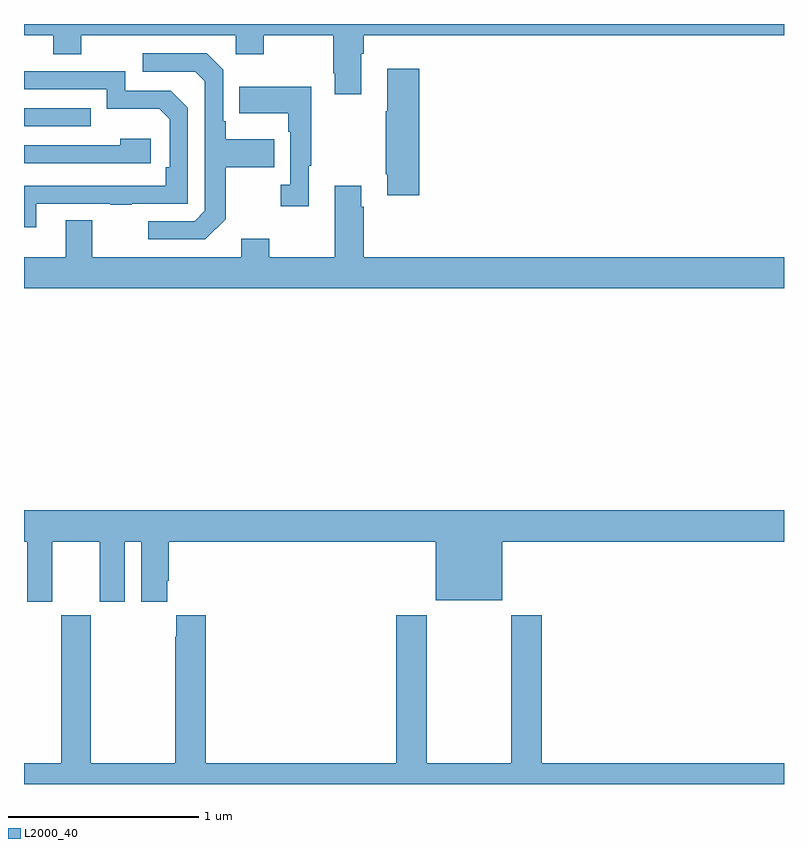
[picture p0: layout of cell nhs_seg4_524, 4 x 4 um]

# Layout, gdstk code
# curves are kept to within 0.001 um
import gdstk
lib = gdstk.Library(unit=1e-6, precision=1e-09)
def R(c, l, rs):  # rectangles x0, y0, x1, y1
    for r in rs: c.add(gdstk.rectangle(r[:2], r[2:], *l))
def P(c, l, *ps):  # polygons
    for p in ps: c.add(gdstk.Polygon(p, *l))
L2000_40 = (2000, 40)

nhs_seg4_524 = lib.new_cell('nhs_seg4_524')
R(nhs_seg4_524, L2000_40, [(137,776.361,137.351,776.457)])
P(nhs_seg4_524, L2000_40, [(138.775,776.744),(138.788,776.744),(138.788,776.84),(141,776.84),(141,776.9),(137,776.9),(137,776.84),(137.153,776.84),(137.153,776.741),(137.301,776.741),(137.301,776.84),(138.114,776.84),(138.114,776.741),(138.261,776.741),(138.261,776.84),(138.628,776.84),(138.628,776.641),(138.635,776.641),(138.635,776.529),(138.775,776.529)],
  [(138.061,775.873),(138.061,776.146),(138.317,776.146),(138.317,776.293),(138.061,776.293),(138.061,776.389),(138.048,776.389),(138.048,776.658),(137.961,776.745),(137.625,776.745),(137.625,776.649),(137.901,776.649),(137.952,776.598),(137.952,775.917),(137.898,775.863),(137.655,775.863),(137.655,775.767),(137.955,775.767)],
  [(139.079,776.665),(138.911,776.665),(138.911,776.441),(138.904,776.441),(138.904,776.11),(138.911,776.11),(138.911,775.998),(139.079,775.998)],
  [(137.065,775.953),(137.455,775.953),(137.455,775.948),(137.567,775.948),(137.567,775.953),(137.862,775.953),(137.862,776.46),(137.772,776.55),(137.532,776.55),(137.532,776.652),(137,776.652),(137,776.556),(137.436,776.556),(137.436,776.453),(137.713,776.453),(137.766,776.4),(137.766,776.146),(137.746,776.146),(137.746,776.049),(137,776.048),(137,775.83),(137.065,775.83)],
  [(138.499,776.153),(138.511,776.153),(138.511,776.569),(138.133,776.569),(138.133,776.429),(138.39,776.429),(138.39,776.333),(138.402,776.333),(138.402,776.054),(138.351,776.054),(138.351,775.941),(138.499,775.941)],
  [(137.668,776.296),(137.507,776.296),(137.507,776.262),(137,776.262),(137,776.166),(137.668,776.166)],
  [(141,775.672),(138.788,775.672),(138.788,775.937),(138.775,775.937),(138.775,776.05),(138.635,776.05),(138.635,775.672),(138.291,775.672),(138.291,775.771),(138.143,775.771),(138.143,775.672),(137.359,775.672),(137.359,775.867),(137.219,775.867),(137.219,775.672),(137,775.672),(137,775.508),(141,775.508)],
  [(137.149,774.176),(137.399,774.176),(137.399,773.859),(137.53,773.859),(137.53,774.176),(137.618,774.176),(137.618,773.859),(137.755,773.859),(137.755,773.971),(137.762,773.971),(137.762,774.176),(139.166,774.176),(139.166,773.867),(139.516,773.867),(139.516,774.176),(141,774.176),(141,774.34),(137,774.34),(137,774.176),(137.018,774.176),(137.018,773.859),(137.149,773.859)],
  [(138.959,773.008),(137.957,773.008),(137.957,773.788),(137.801,773.788),(137.801,773.675),(137.797,773.675),(137.797,773.008),(137.352,773.008),(137.352,773.788),(137.197,773.788),(137.197,773.008),(137,773.008),(137,772.9),(141,772.9),(141,773.008),(139.724,773.008),(139.724,773.788),(139.564,773.788),(139.564,773.008),(139.119,773.008),(139.119,773.788),(138.959,773.788)])

lib.write_gds('nhs_seg4_524.gds')
